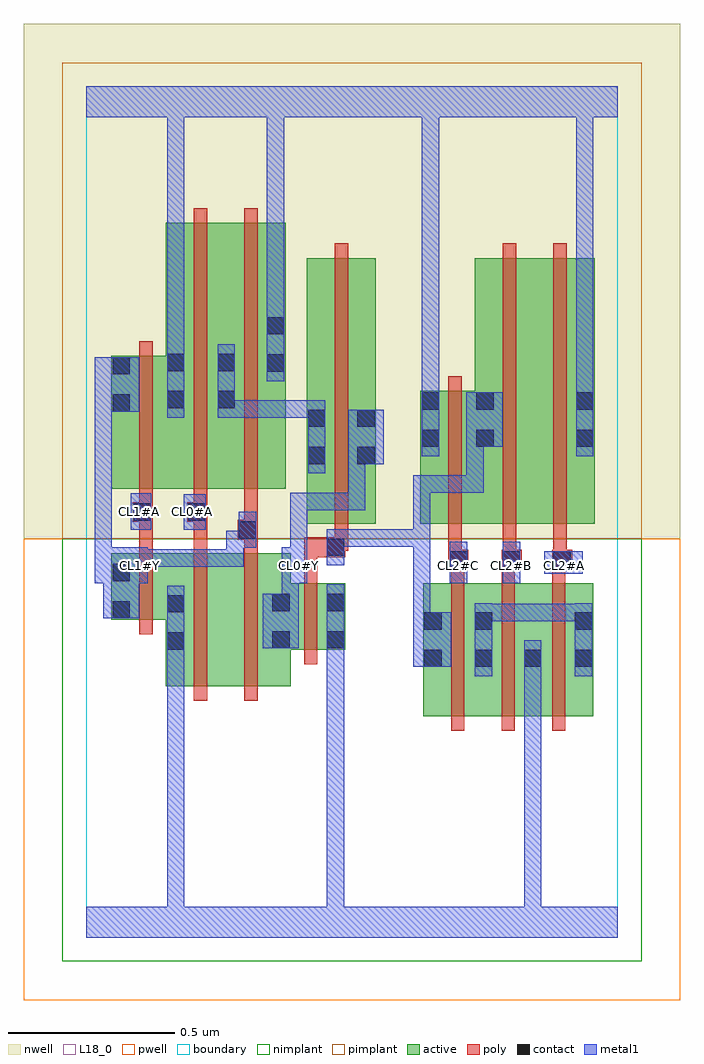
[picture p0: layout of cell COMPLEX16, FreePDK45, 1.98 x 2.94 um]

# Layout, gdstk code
import gdstk
lib = gdstk.Library(unit=1e-6, precision=1e-09)
def R(c, l, rs):  # rectangles x0, y0, x1, y1
    for r in rs: c.add(gdstk.rectangle(r[:2], r[2:], *l))
def A(c, l, x, y, w, h, nx, ny, dx, dy):  # array of equal rectangles
    R(c, l, [(x+i*dx, y+j*dy, x+i*dx+w, y+j*dy+h) for i in range(nx) for j in range(ny)])
active = (1, 0)
pwell = (2, 0)
nwell = (3, 0)
nimplant = (4, 0)
pimplant = (5, 0)
poly = (9, 0)
contact = (10, 0)
metal1 = (11, 0)
L18_0 = (18, 0)
boundary = (235, 0)

complex16 = lib.new_cell('COMPLEX16')
R(complex16, active, [(1.014,0.666,1.226,1.066), (1.166,0.666,1.374,1.066), (1.314,0.666,1.526,1.066), (0.24,0.756,0.42,1.156), (0.24,0.756,0.3,1.156), (0.42,0.756,0.616,1.156), (0.556,0.756,0.616,1.038), (1.014,0.756,1.074,1.066), (1.166,0.756,1.226,1.066), (1.314,0.756,1.374,1.066), (1.466,0.756,1.526,1.066), (0.556,0.866,0.78,1.066), (0.72,0.866,0.78,1.066), (0.076,0.956,0.136,1.156), (0.076,0.956,0.3,1.156), (0.664,1.244,0.724,2.044), (0.664,1.244,0.872,2.044), (0.812,1.244,0.872,2.044), (1.006,1.244,1.066,1.644), (1.006,1.244,1.23,1.644), (1.17,1.244,1.23,1.644), (1.17,1.244,1.35,2.044), (1.35,1.244,1.53,2.044), (1.47,1.244,1.53,2.044), (0.076,1.35,0.136,1.75), (0.076,1.35,0.3,1.75), (0.24,1.35,0.452,2.15), (0.24,1.35,0.3,1.76), (0.392,1.35,0.6,2.15), (0.392,1.35,0.452,2.044), (0.54,1.35,0.6,2.044)])
R(complex16, pwell, [(-0.188,-0.188,1.788,1.2)])
R(complex16, nwell, [(-0.188,1.2,1.788,2.748)])
R(complex16, nimplant, [(-0.072,-0.072,1.672,1.2)])
R(complex16, pimplant, [(-0.072,1.2,1.672,2.632)])
A(complex16, poly, 1.098, 0.622, 0.04, 0.488, 3, 1, 0.152, 0)
A(complex16, poly, 1.098, 1.07, 0.04, 0.076, 3, 1, 0.152, 0)
R(complex16, poly, [(0.324,0.712,0.364,1.2), (0.476,0.712,0.516,1.2), (0.656,0.822,0.696,1.11), (0.16,0.912,0.2,1.2), (0.656,1.07,0.696,1.184), (1.09,1.106,1.15,1.166), (1.25,1.106,1.29,1.146), (1.25,1.106,1.29,1.146), (1.25,1.106,1.31,1.166), (1.402,1.106,1.442,1.146), (1.402,1.106,1.442,1.146), (1.402,1.106,1.462,1.166), (1.09,1.126,1.13,1.24), (1.09,1.126,1.13,1.166), (1.09,1.126,1.13,1.166), (1.254,1.126,1.294,1.24), (1.406,1.126,1.446,1.24), (0.656,1.144,0.78,1.204), (0.16,1.16,0.2,1.29), (0.324,1.16,0.364,1.29), (0.476,1.16,0.516,1.236), (0.74,1.164,0.78,1.204), (0.74,1.164,0.788,1.204), (0.748,1.164,0.788,1.24), (0.456,1.196,0.516,1.256), (0.748,1.2,0.788,2.088), (1.09,1.2,1.13,1.688), (1.254,1.2,1.294,2.088), (1.406,1.2,1.446,2.088), (0.476,1.216,0.516,1.256), (0.476,1.216,0.516,1.256), (0.476,1.216,0.516,1.346), (0.14,1.25,0.2,1.31), (0.16,1.25,0.2,1.29), (0.16,1.25,0.2,1.29), (0.304,1.25,0.364,1.31), (0.324,1.25,0.364,1.29), (0.324,1.25,0.364,1.29), (0.16,1.27,0.2,1.346), (0.324,1.27,0.364,1.346), (0.16,1.306,0.2,1.794), (0.324,1.306,0.364,2.194), (0.476,1.306,0.516,2.194)])
R(complex16, contact, [(1.018,0.814,1.07,0.866), (1.17,0.814,1.222,0.866), (1.318,0.814,1.37,0.866), (1.47,0.814,1.522,0.866), (0.244,0.866,0.296,0.918), (0.56,0.87,0.612,0.922), (0.724,0.87,0.776,0.922), (1.018,0.926,1.07,0.978), (1.17,0.926,1.222,0.978), (1.47,0.926,1.522,0.978), (0.08,0.96,0.132,1.012), (0.244,0.978,0.296,1.03), (0.56,0.982,0.612,1.034), (0.724,0.982,0.776,1.034), (0.08,1.072,0.132,1.124), (1.094,1.11,1.146,1.162), (1.254,1.11,1.306,1.162), (1.406,1.11,1.458,1.162), (0.724,1.148,0.776,1.2), (0.46,1.2,0.512,1.252), (0.144,1.254,0.196,1.306), (0.308,1.254,0.36,1.306), (0.668,1.424,0.72,1.476), (0.816,1.424,0.868,1.476), (1.01,1.476,1.062,1.528), (1.174,1.476,1.226,1.528), (1.474,1.476,1.526,1.528), (0.668,1.536,0.72,1.588), (0.816,1.536,0.868,1.588), (0.08,1.582,0.132,1.634), (1.01,1.588,1.062,1.64), (1.174,1.588,1.226,1.64), (1.474,1.588,1.526,1.64), (0.244,1.592,0.296,1.644), (0.396,1.592,0.448,1.644), (0.08,1.694,0.132,1.746), (0.544,1.702,0.596,1.754), (0.244,1.704,0.296,1.756), (0.396,1.704,0.448,1.756), (0.544,1.814,0.596,1.866)])
R(complex16, metal1, [(0,0,1.6,0.092), (0.244,0.04,0.296,0.092), (0.244,0.04,0.296,0.092), (0.244,0.04,0.296,0.092), (0.244,0.04,0.296,0.092), (0.244,0.04,0.296,0.092), (0.244,0.04,0.296,0.092), (0.244,0.04,0.296,0.092), (0.244,0.04,0.296,0.092), (0.244,0.04,0.296,0.092), (0.244,0.04,0.296,0.092), (0.244,0.04,0.296,0.89), (0.724,0.04,0.776,0.092), (0.724,0.04,0.776,0.092), (0.724,0.04,0.776,0.092), (0.724,0.04,0.776,0.092), (0.724,0.04,0.776,0.092), (0.724,0.04,0.776,0.092), (0.724,0.04,0.776,0.092), (0.724,0.04,0.776,0.092), (0.724,0.04,0.776,0.092), (0.724,0.04,0.776,0.092), (0.724,0.04,0.776,0.092), (0.724,0.04,0.776,0.092), (0.724,0.04,0.776,0.092), (0.724,0.04,0.776,0.092), (0.724,0.04,0.776,0.894), (1.318,0.04,1.37,0.092), (1.318,0.04,1.37,0.092), (1.318,0.04,1.37,0.092), (1.318,0.04,1.37,0.092), (1.318,0.04,1.37,0.092), (1.318,0.04,1.37,0.092), (1.318,0.04,1.37,0.092), (1.318,0.04,1.37,0.092), (1.318,0.04,1.37,0.092), (1.318,0.04,1.37,0.092), (1.318,0.04,1.37,0.092), (1.318,0.04,1.37,0.092), (1.318,0.04,1.37,0.838), (1.17,0.786,1.222,1.006), (1.318,0.786,1.37,0.894), (1.47,0.786,1.522,1.006), (0.984,0.814,1.098,0.978), (0.244,0.838,0.296,0.89), (0.244,0.838,0.296,0.89), (0.244,0.838,0.296,1.058), (0.724,0.842,0.776,0.894), (0.724,0.842,0.776,0.894), (0.724,0.842,0.776,1.062), (0.532,0.87,0.64,1.034), (0.984,0.926,1.036,1.228), (1.17,0.952,1.222,1.004), (1.17,0.952,1.222,1.004), (1.17,0.952,1.412,1.004), (1.36,0.952,1.412,1.004), (1.36,0.952,1.522,1.004), (1.47,0.952,1.522,1.004), (1.47,0.952,1.522,1.004), (0.052,0.96,0.16,1.124), (0.588,0.982,0.64,1.118), (0.026,1.066,0.186,1.174), (0.108,1.066,0.16,1.118), (0.588,1.066,0.666,1.174), (1.094,1.066,1.146,1.19), (1.254,1.066,1.306,1.19), (1.378,1.094,1.494,1.162), (0.134,1.116,0.186,1.168), (0.134,1.116,0.186,1.168), (0.134,1.116,0.338,1.168), (0.286,1.116,0.338,1.168), (0.286,1.116,0.338,1.168), (0.286,1.116,0.338,1.168), (0.286,1.116,0.474,1.168), (0.422,1.116,0.474,1.224), (0.724,1.12,0.776,1.228), (0.026,1.122,0.078,1.174), (0.026,1.122,0.078,1.174), (0.026,1.122,0.078,1.634), (0.614,1.122,0.666,1.338), (0.422,1.172,0.512,1.224), (0.46,1.172,0.512,1.28), (0.724,1.176,0.776,1.228), (0.724,1.176,0.776,1.228), (0.724,1.176,1.036,1.228), (0.984,1.176,1.036,1.228), (0.984,1.176,1.036,1.39), (0.134,1.226,0.196,1.336), (0.294,1.226,0.36,1.334), (0.614,1.286,0.666,1.338), (0.614,1.286,0.84,1.338), (0.788,1.286,0.84,1.338), (0.788,1.286,0.84,1.338), (0.788,1.286,0.84,1.338), (0.788,1.286,0.84,1.476), (0.984,1.338,1.036,1.39), (0.984,1.338,1.036,1.39), (0.984,1.338,1.036,1.39), (0.984,1.338,1.196,1.39), (1.144,1.338,1.196,1.39), (1.144,1.338,1.196,1.528), (0.668,1.396,0.72,1.616), (0.788,1.424,0.896,1.588), (1.01,1.448,1.062,1.668), (1.474,1.448,1.526,1.668), (1.144,1.476,1.254,1.64), (0.244,1.564,0.296,1.784), (0.396,1.564,0.448,1.616), (0.396,1.564,0.448,1.616), (0.396,1.564,0.448,1.784), (0.396,1.564,0.584,1.616), (0.532,1.564,0.584,1.616), (0.532,1.564,0.72,1.616), (0.026,1.582,0.16,1.746), (1.01,1.616,1.062,2.52), (1.01,1.616,1.062,1.668), (1.01,1.616,1.062,1.668), (1.01,1.616,1.062,1.668), (1.01,1.616,1.062,1.668), (1.01,1.616,1.062,1.668), (1.01,1.616,1.062,1.668), (1.01,1.616,1.062,1.668), (1.01,1.616,1.062,1.668), (1.01,1.616,1.062,1.668), (1.01,1.616,1.062,1.668), (1.01,1.616,1.062,1.668), (1.01,1.616,1.062,1.668), (1.01,1.616,1.062,1.668), (1.01,1.616,1.062,1.668), (1.01,1.616,1.062,1.668), (1.01,1.616,1.062,1.668), (1.474,1.616,1.526,2.52), (1.474,1.616,1.526,1.668), (1.474,1.616,1.526,1.668), (1.474,1.616,1.526,1.668), (1.474,1.616,1.526,1.668), (1.474,1.616,1.526,1.668), (1.474,1.616,1.526,1.668), (0.544,1.674,0.596,1.894), (0.244,1.732,0.296,1.784), (0.244,1.732,0.296,1.784), (0.244,1.732,0.296,1.784), (0.244,1.732,0.296,1.784), (0.244,1.732,0.296,1.784), (0.244,1.732,0.296,1.784), (0.244,1.732,0.296,2.52), (0.544,1.842,0.596,1.894), (0.544,1.842,0.596,1.894), (0.544,1.842,0.596,1.894), (0.544,1.842,0.596,1.894), (0.544,1.842,0.596,1.894), (0.544,1.842,0.596,1.894), (0.544,1.842,0.596,2.52), (0,2.468,1.6,2.56), (0.244,2.468,0.296,2.52), (0.244,2.468,0.296,2.52), (0.544,2.468,0.596,2.52), (0.544,2.468,0.596,2.52), (1.474,2.468,1.526,2.52), (1.474,2.468,1.526,2.52)])
A(complex16, L18_0, 0.134, 1.094, 0.052, 0.052, 3, 1, 0.48, 0)
R(complex16, L18_0, [(0,0,1.6,0.092), (0.244,0.04,0.296,0.092), (0.244,0.04,0.296,0.092), (0.244,0.04,0.296,0.092), (0.244,0.04,0.296,0.092), (0.244,0.04,0.296,0.092), (0.244,0.04,0.296,0.092), (0.244,0.04,0.296,0.092), (0.244,0.04,0.296,0.092), (0.244,0.04,0.296,0.092), (0.244,0.04,0.296,0.092), (0.244,0.04,0.296,0.89), (0.724,0.04,0.776,0.092), (0.724,0.04,0.776,0.092), (0.724,0.04,0.776,0.092), (0.724,0.04,0.776,0.092), (0.724,0.04,0.776,0.092), (0.724,0.04,0.776,0.092), (0.724,0.04,0.776,0.092), (0.724,0.04,0.776,0.092), (0.724,0.04,0.776,0.092), (0.724,0.04,0.776,0.092), (0.724,0.04,0.776,0.092), (0.724,0.04,0.776,0.092), (0.724,0.04,0.776,0.092), (0.724,0.04,0.776,0.092), (0.724,0.04,0.776,0.894), (1.318,0.04,1.37,0.092), (1.318,0.04,1.37,0.092), (1.318,0.04,1.37,0.092), (1.318,0.04,1.37,0.092), (1.318,0.04,1.37,0.092), (1.318,0.04,1.37,0.092), (1.318,0.04,1.37,0.092), (1.318,0.04,1.37,0.092), (1.318,0.04,1.37,0.092), (1.318,0.04,1.37,0.092), (1.318,0.04,1.37,0.092), (1.318,0.04,1.37,0.092), (1.318,0.04,1.37,0.838), (1.318,0.786,1.37,0.894), (0.244,0.838,0.296,0.89), (0.244,0.838,0.296,0.89), (0.244,0.838,0.296,1.058), (0.724,0.842,0.776,0.894), (0.724,0.842,0.776,0.894), (0.724,0.842,0.776,1.062), (0.532,0.87,0.64,1.034), (0.052,0.96,0.16,1.124), (0.588,0.982,0.64,1.118), (0.026,1.066,0.186,1.174), (0.108,1.066,0.16,1.118), (0.588,1.066,0.666,1.174), (1.094,1.066,1.146,1.19), (1.254,1.066,1.306,1.19), (1.254,1.094,1.306,1.146), (1.378,1.094,1.494,1.162), (1.414,1.094,1.466,1.146), (0.134,1.116,0.186,1.168), (0.134,1.116,0.186,1.168), (0.134,1.116,0.338,1.168), (0.286,1.116,0.338,1.168), (0.286,1.116,0.338,1.168), (0.286,1.116,0.338,1.168), (0.286,1.116,0.474,1.168), (0.422,1.116,0.474,1.224), (0.026,1.122,0.078,1.174), (0.026,1.122,0.078,1.174), (0.026,1.122,0.078,1.634), (0.614,1.122,0.666,1.338), (0.422,1.172,0.512,1.224), (0.46,1.172,0.512,1.28), (0.134,1.226,0.196,1.336), (0.294,1.226,0.36,1.334), (0.134,1.254,0.186,1.306), (0.294,1.254,0.346,1.306), (0.614,1.286,0.666,1.338), (0.614,1.286,0.84,1.338), (0.788,1.286,0.84,1.338), (0.788,1.286,0.84,1.338), (0.788,1.286,0.84,1.338), (0.788,1.286,0.84,1.476), (0.788,1.424,0.896,1.588), (1.01,1.448,1.062,1.668), (1.474,1.448,1.526,1.668), (0.244,1.564,0.296,1.784), (0.026,1.582,0.16,1.746), (1.01,1.616,1.062,1.668), (1.01,1.616,1.062,1.668), (1.01,1.616,1.062,1.668), (1.01,1.616,1.062,1.668), (1.01,1.616,1.062,1.668), (1.01,1.616,1.062,1.668), (1.01,1.616,1.062,1.668), (1.01,1.616,1.062,1.668), (1.01,1.616,1.062,1.668), (1.01,1.616,1.062,1.668), (1.01,1.616,1.062,1.668), (1.01,1.616,1.062,1.668), (1.01,1.616,1.062,1.668), (1.01,1.616,1.062,1.668), (1.01,1.616,1.062,1.668), (1.01,1.616,1.062,1.668), (1.01,1.616,1.062,2.52), (1.474,1.616,1.526,1.668), (1.474,1.616,1.526,1.668), (1.474,1.616,1.526,1.668), (1.474,1.616,1.526,1.668), (1.474,1.616,1.526,1.668), (1.474,1.616,1.526,1.668), (1.474,1.616,1.526,2.52), (0.544,1.674,0.596,1.894), (0.244,1.732,0.296,1.784), (0.244,1.732,0.296,1.784), (0.244,1.732,0.296,1.784), (0.244,1.732,0.296,1.784), (0.244,1.732,0.296,1.784), (0.244,1.732,0.296,1.784), (0.244,1.732,0.296,2.52), (0.544,1.842,0.596,1.894), (0.544,1.842,0.596,1.894), (0.544,1.842,0.596,1.894), (0.544,1.842,0.596,1.894), (0.544,1.842,0.596,1.894), (0.544,1.842,0.596,1.894), (0.544,1.842,0.596,2.52), (0,2.468,1.6,2.56), (0.244,2.468,0.296,2.52), (0.244,2.468,0.296,2.52), (0.544,2.468,0.596,2.52), (0.544,2.468,0.596,2.52), (1.474,2.468,1.526,2.52), (1.474,2.468,1.526,2.52)])
R(complex16, boundary, [(0,0,1.6,2.56)])
complex16.add(gdstk.Label('CL0#A', (0.32,1.28), layer=11, texttype=0))
complex16.add(gdstk.Label('CL0#Y', (0.64,1.12), layer=11, texttype=0))
complex16.add(gdstk.Label('CL1#A', (0.16,1.28), layer=11, texttype=0))
complex16.add(gdstk.Label('CL1#Y', (0.16,1.12), layer=11, texttype=0))
complex16.add(gdstk.Label('CL2#A', (1.44,1.12), layer=11, texttype=0))
complex16.add(gdstk.Label('CL2#B', (1.28,1.12), layer=11, texttype=0))
complex16.add(gdstk.Label('CL2#C', (1.12,1.12), layer=11, texttype=0))

lib.write_gds('COMPLEX16.gds')
